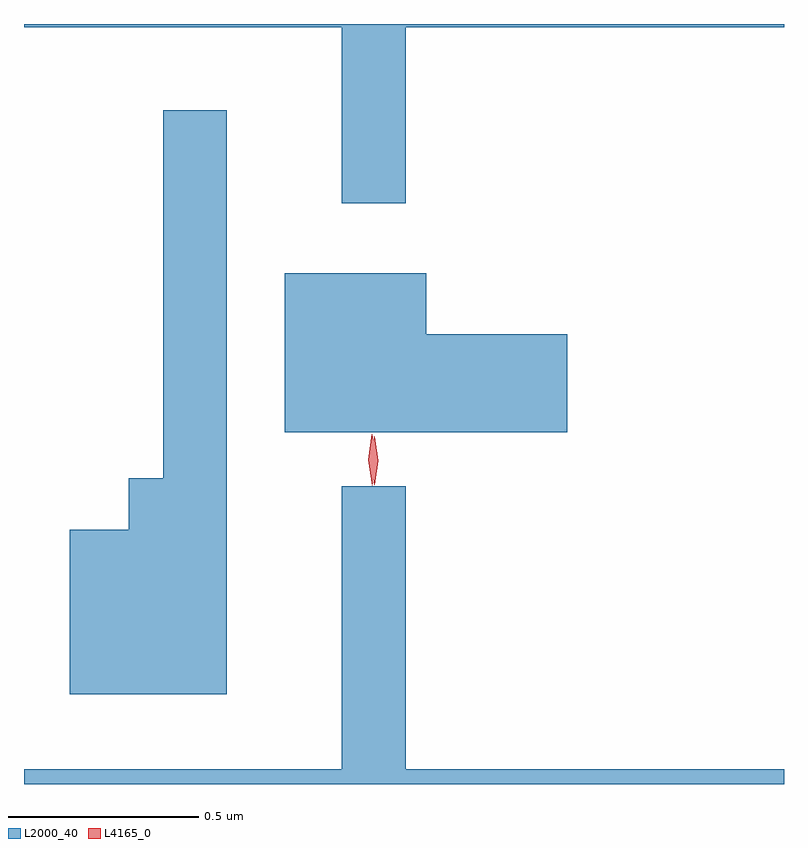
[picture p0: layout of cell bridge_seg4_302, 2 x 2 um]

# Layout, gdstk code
import gdstk
lib = gdstk.Library(unit=1e-6, precision=1e-09)
def P(c, l, *ps):  # polygons
    for p in ps: c.add(gdstk.Polygon(p, *l))
L2000_40 = (2000, 40)
L4165_0 = (4165, 0)

bridge_seg4_302 = lib.new_cell('bridge_seg4_302')
P(bridge_seg4_302, L2000_40, [(568.789,1259.216),(569.785,1259.216),(569.785,1259.225),(567.785,1259.225),(567.785,1259.216),(568.621,1259.216),(568.621,1258.753),(568.789,1258.753)],
  [(568.319,1258.998),(568.151,1258.998),(568.151,1258.029),(568.061,1258.029),(568.061,1257.894),(567.906,1257.894),(567.906,1257.461),(568.319,1257.461)],
  [(569.214,1258.409),(568.844,1258.409),(568.844,1258.569),(568.471,1258.569),(568.471,1258.151),(569.214,1258.151)],
  [(569.785,1257.264),(568.789,1257.264),(568.789,1258.008),(568.621,1258.008),(568.621,1257.264),(567.785,1257.264),(567.785,1257.225),(569.785,1257.225)])
P(bridge_seg4_302, L4165_0, [(568.707,1258.013),(568.707,1258.013),(568.697,1258.076),(568.707,1258.139),(568.707,1258.14),(568.708,1258.139),(568.717,1258.076),(568.708,1258.013)],
  [(568.701,1258.01),(568.691,1258.078),(568.7,1258.146),(568.7,1258.146),(568.701,1258.146),(568.711,1258.078),(568.702,1258.01),(568.702,1258.01)])

lib.write_gds('bridge_seg4_302.gds')
